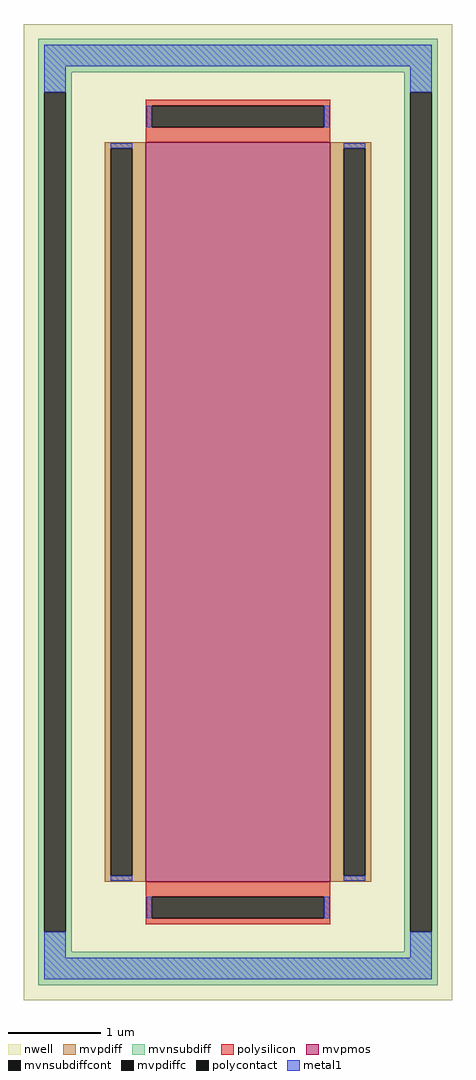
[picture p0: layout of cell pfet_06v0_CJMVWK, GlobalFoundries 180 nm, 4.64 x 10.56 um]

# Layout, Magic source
magic
tech gf180mcuD
magscale 1 10
<< nwell >>
rect -464 -1056 464 1056
<< mvpmos >>
rect -200 -800 200 800
<< mvpdiff >>
rect -288 787 -200 800
rect -288 -787 -275 787
rect -229 -787 -200 787
rect -288 -800 -200 -787
rect 200 787 288 800
rect 200 -787 229 787
rect 275 -787 288 787
rect 200 -800 288 -787
<< mvpdiffc >>
rect -275 -787 -229 787
rect 229 -787 275 787
<< mvnsubdiff >>
rect -432 952 432 1024
rect -432 908 -360 952
rect -432 -908 -419 908
rect -373 -908 -360 908
rect 360 908 432 952
rect -432 -952 -360 -908
rect 360 -908 373 908
rect 419 -908 432 908
rect 360 -952 432 -908
rect -432 -1024 432 -952
<< mvnsubdiffcont >>
rect -419 -908 -373 908
rect 373 -908 419 908
<< polysilicon >>
rect -200 879 200 892
rect -200 833 -187 879
rect 187 833 200 879
rect -200 800 200 833
rect -200 -833 200 -800
rect -200 -879 -187 -833
rect 187 -879 200 -833
rect -200 -892 200 -879
<< polycontact >>
rect -187 833 187 879
rect -187 -879 187 -833
<< metal1 >>
rect -419 965 419 1011
rect -419 908 -373 965
rect 373 908 419 965
rect -198 833 -187 879
rect 187 833 198 879
rect -275 787 -229 798
rect -275 -798 -229 -787
rect 229 787 275 798
rect 229 -798 275 -787
rect -198 -879 -187 -833
rect 187 -879 198 -833
rect -419 -965 -373 -908
rect 373 -965 419 -908
rect -419 -1011 419 -965
<< properties >>
string FIXED_BBOX -396 -988 396 988
string gencell pfet_06v0
string library gf180mcu
string parameters w 8.0 l 2.0 m 1 nf 1 diffcov 100 polycov 100 guard 1 glc 1 grc 1 gtc 0 gbc 0 tbcov 100 rlcov 100 topc 1 botc 1 poverlap 0 doverlap 1 lmin 0.5 wmin 0.3 class mosfet full_metal 1 compatible {pfet_03v3 pfet_06v0}
<< end >>
